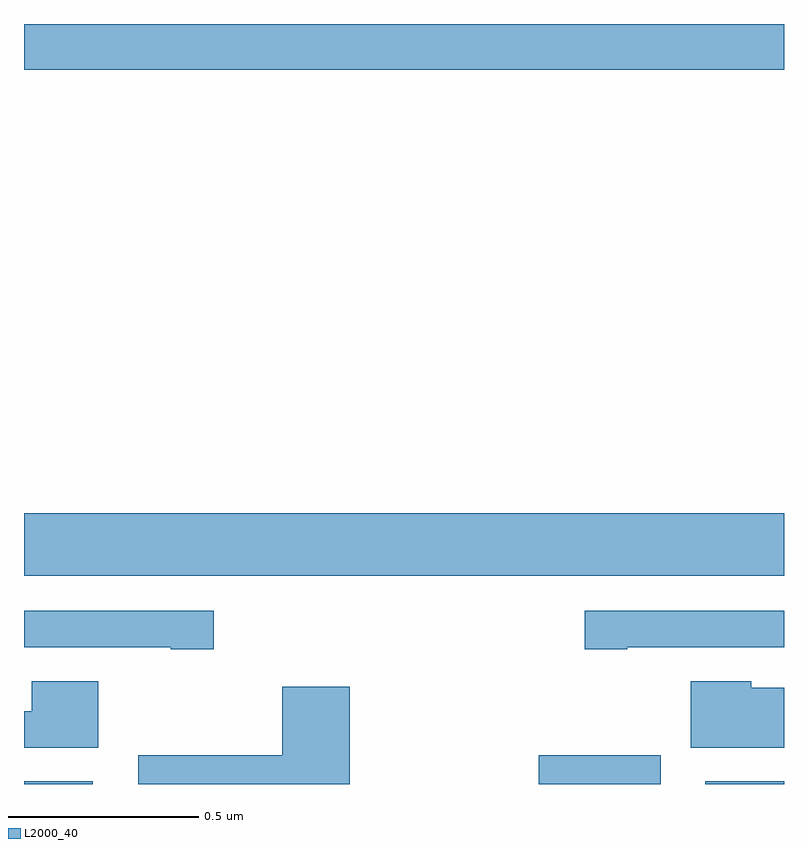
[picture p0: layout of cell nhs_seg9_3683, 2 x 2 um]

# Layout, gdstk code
import gdstk
lib = gdstk.Library(unit=1e-6, precision=1e-09)
def R(c, l, rs):  # rectangles x0, y0, x1, y1
    for r in rs: c.add(gdstk.rectangle(r[:2], r[2:], *l))
def P(c, l, *ps):  # polygons
    for p in ps: c.add(gdstk.Polygon(p, *l))
L2000_40 = (2000, 40)

nhs_seg9_3683 = lib.new_cell('nhs_seg9_3683')
R(nhs_seg9_3683, L2000_40, [(156,1234.5,156.181,1234.507), (157.355,1234.5,157.675,1234.576), (157.793,1234.5,158,1234.507), (156,1235.048,158,1235.212), (156,1236.38,158,1236.5)])
P(nhs_seg9_3683, L2000_40, [(156.499,1234.956),(156,1234.956),(156,1234.86),(156.386,1234.86),(156.386,1234.855),(156.499,1234.855)],
  [(157.588,1234.86),(158,1234.86),(158,1234.956),(157.476,1234.956),(157.476,1234.855),(157.588,1234.855)],
  [(158,1234.753),(157.914,1234.753),(157.914,1234.771),(157.754,1234.771),(157.754,1234.595),(158,1234.595)],
  [(156.196,1234.771),(156.02,1234.771),(156.02,1234.692),(156,1234.692),(156,1234.596),(156.196,1234.596)],
  [(156.857,1234.756),(156.679,1234.756),(156.679,1234.576),(156.3,1234.576),(156.3,1234.5),(156.857,1234.5)])

lib.write_gds('nhs_seg9_3683.gds')
